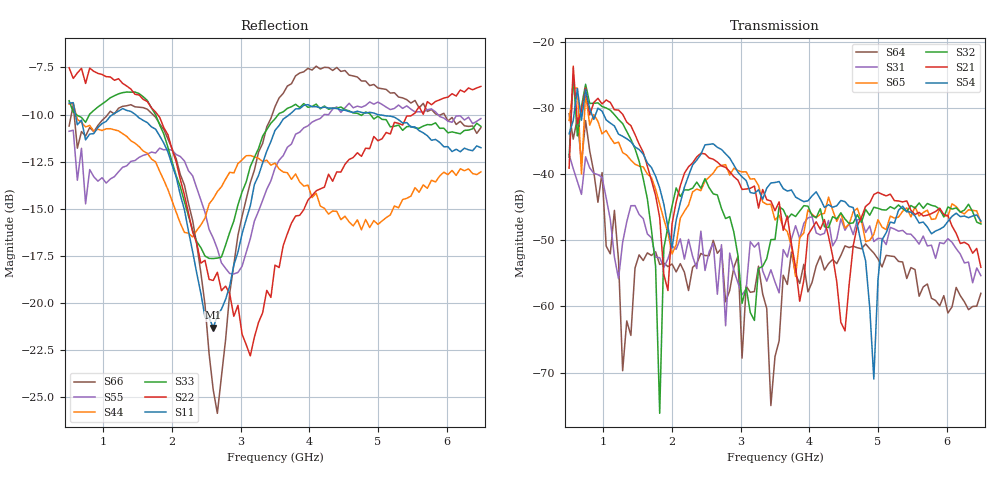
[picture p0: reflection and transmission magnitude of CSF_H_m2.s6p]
!Keysight Technologies,M9804A,MY58100912,A.14.10.03
!Date: Thursday, April 27, 2023 10:28:33
!Correction: S11(C  6-Port  )
!S12(C  6-Port  )
!S13(C  6-Port  )
!S14(C  6-Port  )
!S15(C  6-Port  )
!S16(C  6-Port  )
!S21(C  6-Port  )
!S22(C  6-Port  )
!S23(C  6-Port  )
!S24(C  6-Port  )
!S25(C  6-Port  )
!S26(C  6-Port  )
!S31(C  6-Port  )
!S32(C  6-Port  )
!S33(C  6-Port  )
!S34(C  6-Port  )
!S35(C  6-Port  )
!S36(C  6-Port  )
!S41(C  6-Port  )
!S42(C  6-Port  )
!S43(C  6-Port  )
!S44(C  6-Port  )
!S45(C  6-Port  )
!S46(C  6-Port  )
!S51(C  6-Port  )
!S52(C  6-Port  )
!S53(C  6-Port  )
!S54(C  6-Port  )
!S55(C  6-Port  )
!S56(C  6-Port  )
!S61(C  6-Port  )
!S62(C  6-Port  )
!S63(C  6-Port  )
!S64(C  6-Port  )
!S65(C  6-Port  )
!S66(C  6-Port  )
!S6P File: Measurement: :
# Hz S  RI  R 50
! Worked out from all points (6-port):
!   101 points, 500 MHz to 6.5 GHz, reference 50 ohm
!   strongest paths, dB at 500 MHz, 2 GHz, 3.5 GHz, 5 GHz, 6.5 GHz:
!     S54: -33.9, -51.1, -41.3, -56.0, -47.1
!     S21: -39.1, -47.5, -45.5, -42.8, -54.1
!     S32: -37.4, -44.8, -49.9, -45.2, -47.5
!     S65: -31.9, -52.1, -46.9, -46.9, -47.4
!     S31: -37.0, -50.9, -56.3, -49.7, -55.4
!     S64: -30.9, -53.6, -67.6, -52.8, -58.0
!   lowest |S11| = -21.3 dB at 2.6 GHz (marker M1), VSWR 1.19, Z = 42.4 + j2.3 ohm
!   |S11| at or under -10 dB: 592.2 MHz to 1.135 GHz (542.9 MHz wide, 62.9 % of centre); 1.465 GHz to 3.71 GHz (2.245 GHz wide, 86.8 % of centre); 4.994 GHz to end of sweep
